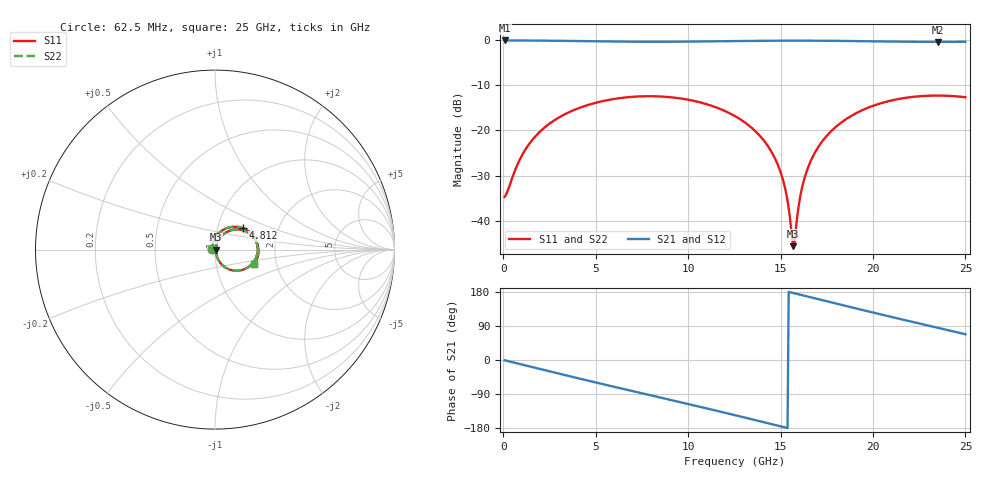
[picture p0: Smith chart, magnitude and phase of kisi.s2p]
! thru_BV_ts_refinout2_q070f25s_in: 2×thru F.Cu, 6 mm
! stackup: as the board case
! ports: 1 near, 2 far
! kisi-fdtd, conformal, dfine 0.07 mm, 326700 cells
# Hz S RI R 50
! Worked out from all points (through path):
!   400 points, 62.5 MHz to 25 GHz, reference 50 ohm
!   highest |S21| = -0.15 dB at 62.5 MHz (marker M1); lowest = -0.5 dB at 23.5 GHz (marker M2)
!   group delay of S21, straight-line fit = 32.5 ps
!   lowest |S11| = -45.5 dB at 15.69 GHz (marker M3), VSWR 1.01, Z = 50.5 - j0.0671 ohm
!   |S11| at or under -10 dB: start of sweep to end of sweep
!   |S22| runs from -45.5 to -12.3 dB; largest |S21 - S12| = 0
!   S11 on the Smith chart (normalised r, x): 62.5 MHz: 0.96, +0.01; 4.812 GHz: 1.33, +0.33; 25 GHz: 1.53, -0.26
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6.25e7  -0.0182 0.0034  0.9823 -0.0129  0.9823 -0.0129  -0.0182 0.0034
8.75e8  -0.00939 0.0463  0.9652 -0.1792  0.9652 -0.1792  -0.00939 0.0463
1.625e9  0.0109 0.0806  0.9235 -0.3274  0.9235 -0.3274  0.0109 0.0806
2.75e9  0.057 0.1158  0.818 -0.5305  0.818 -0.5305  0.057 0.1158
4.25e9  0.1306 0.126  0.6123 -0.7467  0.6123 -0.7467  0.1306 0.126
4.8125e9  0.1573 0.1189  0.5212 -0.8085  0.5212 -0.8085  0.1573 0.1189
6.5625e9  0.2211 0.065  0.2101 -0.929  0.2101 -0.929  0.2211 0.065
8.375e9  0.2364 -0.019  -0.1286 -0.9408  -0.1286 -0.9408  0.2364 -0.019
1.04375e10  0.1838 -0.099  -0.4961 -0.8167  -0.4961 -0.8167  0.1838 -0.099
1.25625e10  0.0868 -0.113  -0.8014 -0.5407  -0.8014 -0.5407  0.0868 -0.113
1.3875e10  0.0347 -0.08  -0.923 -0.3079  -0.923 -0.3079  0.0347 -0.08
1.475e10  0.0129 -0.0447  -0.9663 -0.1354  -0.9663 -0.1354  0.0129 -0.0447
1.53125e10  0.00623 -0.0186  -0.9765 -0.0208  -0.9765 -0.0208  0.00623 -0.0186
1.56875e10  0.00524 -0.000664  -0.9754 0.0561  -0.9754 0.0561  0.00524 -0.000664
1.575e10  0.00535 0.00234  -0.9746 0.0689  -0.9746 0.0689  0.00535 0.00234
1.6125e10  0.00767 0.0202  -0.9661 0.1454  -0.9661 0.1454  0.00767 0.0202
1.66875e10  0.0163 0.0459  -0.9416 0.2581  -0.9416 0.2581  0.0163 0.0459
1.7375e10  0.0348 0.0736  -0.8931 0.3901  -0.8931 0.3901  0.0348 0.0736
1.83125e10  0.0711 0.1009  -0.7969 0.5541  -0.7969 0.5541  0.0711 0.1009
2.0875e10  0.1904 0.091  -0.4046 0.8654  -0.4046 0.8654  0.1904 0.091
2.35e10  0.2416 -0.0178  0.0816 0.943  0.0816 0.943  0.2416 -0.0178
2.5e10  0.2175 -0.0819  0.3566 0.8804  0.3566 0.8804  0.2175 -0.0819
